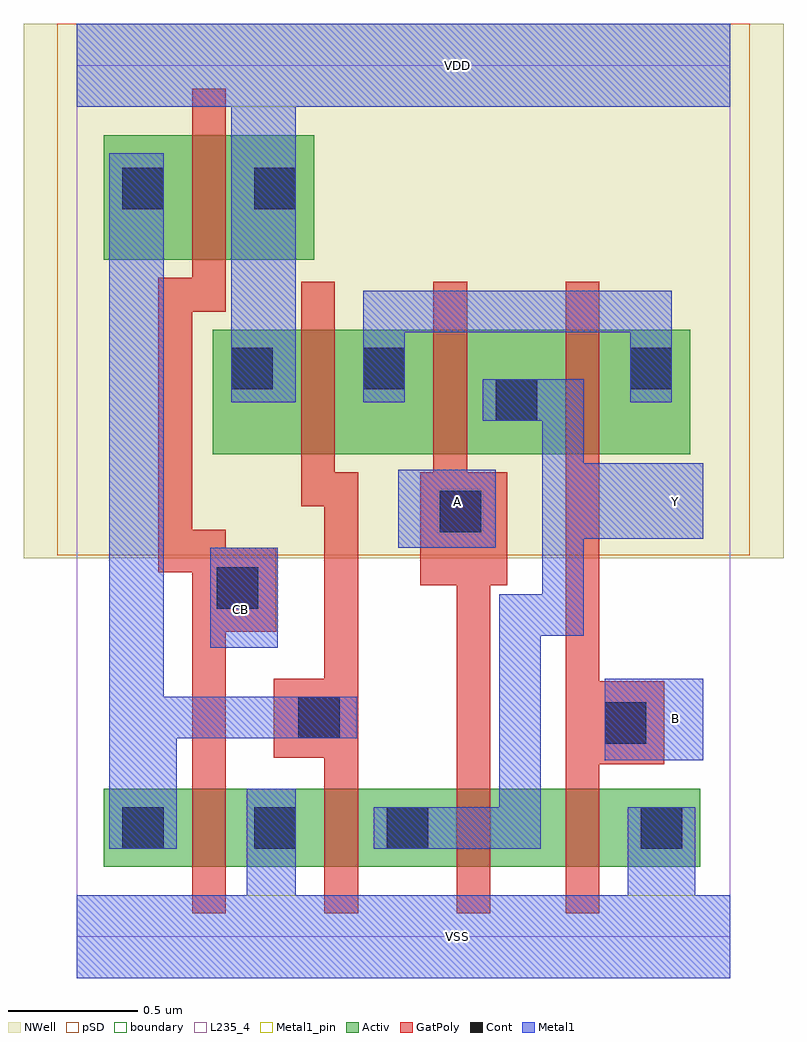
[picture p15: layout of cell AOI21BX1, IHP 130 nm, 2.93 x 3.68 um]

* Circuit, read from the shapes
.subckt AOI21BX1 A B CB VDD VSS Y
XM1 VSS CB n1 VSUBS sg13_lv_nmos w=0.3u l=0.13u
XM2 Y n1 VSS VSUBS sg13_lv_nmos w=0.3u l=0.13u
XM3 n2 A Y VSUBS sg13_lv_nmos w=0.3u l=0.13u
XM4 VSS B n2 VSUBS sg13_lv_nmos w=0.3u l=0.13u
XM5 VDD CB n1 n3 sg13_lv_pmos w=0.48u l=0.13u
XM6 n4 n1 VDD n3 sg13_lv_pmos w=0.48u l=0.13u
XM7 Y A n4 n3 sg13_lv_pmos w=0.48u l=0.13u
XM8 n4 B Y n3 sg13_lv_pmos w=0.48u l=0.13u
.ends

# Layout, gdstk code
import gdstk
lib = gdstk.Library(unit=1e-6, precision=1e-09)
def R(c, l, rs):  # rectangles x0, y0, x1, y1
    for r in rs: c.add(gdstk.rectangle(r[:2], r[2:], *l))
def A(c, l, x, y, w, h, nx, ny, dx, dy):  # array of equal rectangles
    R(c, l, [(x+i*dx, y+j*dy, x+i*dx+w, y+j*dy+h) for i in range(nx) for j in range(ny)])
def P(c, l, *ps):  # polygons
    for p in ps: c.add(gdstk.Polygon(p, *l))
Activ = (1, 0)
GatPoly = (5, 0)
Cont = (6, 0)
Metal1 = (8, 0)
Metal1_pin = (8, 2)
pSD = (14, 0)
NWell = (31, 0)
boundary = (189, 4)
L235_4 = (235, 4)

aoi21bx1 = lib.new_cell('AOI21BX1')
R(aoi21bx1, Activ, [(0.105,0.27,2.405,0.57), (0.525,1.86,2.365,2.34), (0.105,2.61,0.915,3.09)])
P(aoi21bx1, GatPoly, [(0.445,0.09),(0.445,1.405),(0.315,1.405),(0.315,2.54),(0.445,2.54),(0.445,3.27),(0.575,3.27),(0.575,2.41),(0.445,2.41),(0.445,1.57),(0.575,1.57),(0.575,1.5),(0.77,1.5),(0.77,1.175),(0.575,1.175),(0.575,0.09)],
  [(1.885,0.09),(1.885,2.525),(2.015,2.525),(2.015,0.985),(2.265,0.985),(2.265,0.665),(2.015,0.665),(2.015,0.09)],
  [(1.465,0.09),(1.465,1.355),(1.325,1.355),(1.325,1.79),(1.375,1.79),(1.375,2.525),(1.505,2.525),(1.505,1.79),(1.66,1.79),(1.66,1.355),(1.595,1.355),(1.595,0.09)],
  [(0.955,0.09),(0.955,0.69),(0.76,0.69),(0.76,0.995),(0.955,0.995),(0.955,1.66),(0.865,1.66),(0.865,2.525),(0.995,2.525),(0.995,1.79),(1.085,1.79),(1.085,0.09)])
A(aoi21bx1, Cont, 0.175, 0.34, 0.16, 0.16, 3, 1, 0.51, 0)
R(aoi21bx1, Cont, [(2.175,0.34,2.335,0.5), (2.035,0.745,2.195,0.905), (0.855,0.765,1.015,0.925), (0.54,1.265,0.7,1.425), (1.4,1.56,1.56,1.72), (1.615,1.99,1.775,2.15), (0.595,2.11,0.755,2.27), (1.105,2.11,1.265,2.27), (2.135,2.11,2.295,2.27), (0.175,2.805,0.335,2.965), (0.685,2.805,0.845,2.965)])
R(aoi21bx1, Metal1, [(2.035,0.68,2.415,0.995), (0.515,1.115,0.775,1.5), (1.24,1.5,1.615,1.8)])
P(aoi21bx1, Metal1, [(1.145,0.34),(1.145,0.5),(1.63,0.5),(1.63,1.32),(1.795,1.32),(1.795,1.99),(1.565,1.99),(1.565,2.15),(1.955,2.15),(1.955,1.825),(2.415,1.825),(2.415,1.535),(1.955,1.535),(1.955,1.16),(1.79,1.16),(1.79,0.34)],
  [(0,-0.16),(0,0.16),(0.655,0.16),(0.655,0.57),(0.845,0.57),(0.845,0.16),(2.125,0.16),(2.125,0.5),(2.385,0.5),(2.385,0.16),(2.52,0.16),(2.52,-0.16)],
  [(0.595,2.06),(0.595,3.2),(0,3.2),(0,3.52),(2.52,3.52),(2.52,3.2),(0.845,3.2),(0.845,2.06)],
  [(1.105,2.06),(1.105,2.49),(2.295,2.49),(2.295,2.06),(2.135,2.06),(2.135,2.33),(1.265,2.33),(1.265,2.06)],
  [(0.125,0.34),(0.125,3.02),(0.335,3.02),(0.335,0.925),(1.08,0.925),(1.08,0.765),(0.385,0.765),(0.385,0.34)])
R(aoi21bx1, Metal1_pin, [(0,-0.16,2.52,0.16), (2.035,0.68,2.415,0.995), (0.515,1.115,0.775,1.5), (1.24,1.5,1.615,1.8), (0,3.2,2.52,3.52)])
P(aoi21bx1, Metal1_pin, [(1.145,0.34),(1.145,0.5),(1.63,0.5),(1.63,1.32),(1.795,1.32),(1.795,1.99),(1.565,1.99),(1.565,2.15),(1.955,2.15),(1.955,1.825),(2.415,1.825),(2.415,1.535),(1.955,1.535),(1.955,1.16),(1.79,1.16),(1.79,0.34)])
R(aoi21bx1, pSD, [(-0.075,1.47,2.595,3.52)])
R(aoi21bx1, NWell, [(-0.205,1.46,2.725,3.52)])
R(aoi21bx1, boundary, [(0,0,2.52,3.36)])
R(aoi21bx1, L235_4, [(0,0,2.52,3.36)])
aoi21bx1.add(gdstk.Label('CB', (0.63,1.26), layer=8, texttype=25))
aoi21bx1.add(gdstk.Label('B', (2.31,0.84), layer=8, texttype=25))
aoi21bx1.add(gdstk.Label('Y', (2.31,1.68), layer=8, texttype=25))
aoi21bx1.add(gdstk.Label('VSS', (1.47,0), layer=8, texttype=25))
aoi21bx1.add(gdstk.Label('VDD', (1.47,3.36), layer=8, texttype=25))
aoi21bx1.add(gdstk.Label('A', (1.47,1.68), layer=8, texttype=25))

lib.write_gds('AOI21BX1.gds')
